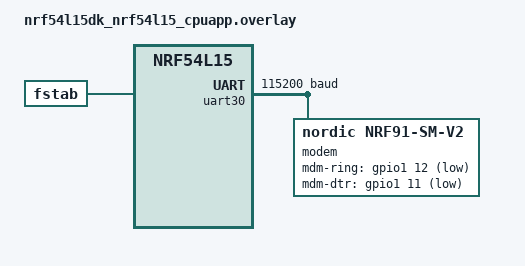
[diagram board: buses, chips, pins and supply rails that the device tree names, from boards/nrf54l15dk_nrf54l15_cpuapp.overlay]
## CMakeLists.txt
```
#
# Copyright (c) 2025 Nordic Semiconductor ASA
#
# SPDX-License-Identifier: LicenseRef-Nordic-5-Clause
#

cmake_minimum_required(VERSION 3.20.0)

find_package(Zephyr REQUIRED HINTS $ENV{ZEPHYR_BASE})
project(app)

target_sources(app PRIVATE src/main.c)
target_sources(app PRIVATE src/at_shell.c)
target_sources(app PRIVATE src/dl_shell.c)
```

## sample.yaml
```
sample:
  description: Serial Modem PPP example with shell interface
  name: PPP shell
tests:
  sample.sm_ppp_shell:
    sysbuild: true
    build_only: true
    platform_allow:
      - nrf54l15dk/nrf54l15/cpuapp
      - native_sim
    integration_platforms:
      - nrf54l15dk/nrf54l15/cpuapp
      - native_sim
```

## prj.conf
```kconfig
#
# Copyright (c) 2025 Nordic Semiconductor ASA
#
# SPDX-License-Identifier: LicenseRef-Nordic-5-Clause
#

# Networking
CONFIG_NETWORKING=y
CONFIG_NET_NATIVE=y
CONFIG_NET_L2_PPP=y
CONFIG_NET_L2_ETHERNET=n
CONFIG_NET_IPV4=y
CONFIG_NET_IPV6=y
CONFIG_NET_UDP=y
CONFIG_NET_TCP=y
CONFIG_NET_SOCKETS=y
CONFIG_NET_CONTEXT_RCVTIMEO=y
CONFIG_ZVFS_POLL_MAX=20
CONFIG_ZVFS_OPEN_MAX=20
CONFIG_POSIX_API=y
CONFIG_TEST_RANDOM_GENERATOR=y
CONFIG_NET_ZPERF=y
CONFIG_NET_PKT_RX_COUNT=40
CONFIG_NET_PKT_TX_COUNT=40
CONFIG_NET_BUF_RX_COUNT=80
CONFIG_NET_BUF_TX_COUNT=80
CONFIG_NET_BUF_DATA_SIZE=256

# DNS
CONFIG_DNS_RESOLVER=y
CONFIG_DNS_RESOLVER_MAX_SERVERS=4
CONFIG_NET_L2_PPP_OPTION_DNS_USE=y

# Network management
CONFIG_NET_MGMT=y
CONFIG_NET_MGMT_EVENT=y
CONFIG_NET_CONNECTION_MANAGER=y

# Modem driver
CONFIG_MODEM=y
CONFIG_MODEM_CELLULAR=y
CONFIG_PM_DEVICE=y
CONFIG_PM_DEVICE_RUNTIME=y
CONFIG_PM_DEVICE_RUNTIME_USE_DEDICATED_WQ=y

# "net iface up" drives PPP/L2 bring-up and modem_cellular PM/CMUX state work
# on the system workqueue; the 1024-byte default overflows under that call depth.
CONFIG_SYSTEM_WORKQUEUE_STACK_SIZE=4096

# Tune CMUX buffers
# MTU 127 and header size 6 means one full frame is 133 bytes
# Use 32 full CMUX frames for CMUX buffer and 4 frames for UART buffer
CONFIG_MODEM_CMUX_MTU=127
CONFIG_MODEM_CMUX_WORK_BUFFER_SIZE_EXTRA=4256
CONFIG_MODEM_CELLULAR_UART_BUFFER_SIZES=532
CONFIG_MODEM_CMUX_MSC_FC_THRESHOLD=127


# Serial Modem libraries
CONFIG_SM_XDFU_LIB=y
CONFIG_ZCBOR=y

# Shell utilities
CONFIG_SHELL=y
CONFIG_SHELL_WILDCARD=n
CONFIG_NET_SHELL=y
CONFIG_PM_DEVICE_SHELL=y
CONFIG_NET_MGMT_EVENT_MONITOR=y
CONFIG_NET_MGMT_EVENT_MONITOR_AUTO_START=y
CONFIG_SHELL_CMD_BUFF_SIZE=4096
# The xdfu shell command runs the full AT#XDFU chat-script/pipe-transfer
# sequence directly on the shell thread; the default stack is too small
# for that call depth and overflows.
CONFIG_SHELL_STACK_SIZE=4096
CONFIG_MODEM_CELLULAR_USER_PIPE_BUFFER_SIZES=4096
CONFIG_DOWNLOADER=y
CONFIG_DOWNLOADER_STACK_SIZE=2048

# Logging
CONFIG_LOG=y
CONFIG_MODEM_LOG_LEVEL_DBG=y
CONFIG_MODEM_CMUX_LOG_LEVEL_DBG=y

# Enable immediate logging to see the log messages with DFU
# Not recommended for production.
CONFIG_LOG_MODE_IMMEDIATE=y

# Additional logging for seeing URCs
#CONFIG_MODEM_MODULES_LOG_LEVEL_DBG=y
```

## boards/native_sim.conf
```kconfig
#
# Copyright (c) 2025 Nordic Semiconductor ASA
#
# SPDX-License-Identifier: LicenseRef-Nordic-5-Clause
#

# Run Native sim in real-time mode.
CONFIG_NATIVE_SIM_SLOWDOWN_TO_REAL_TIME=y

# As of today, native_sim does not properly support UART async API with PM_RUNTIME.
#CONFIG_UART_ASYNC_API=y
CONFIG_UART_INTERRUPT_DRIVEN=y
CONFIG_SHELL_BACKEND_SERIAL_API_POLLING=y
CONFIG_SHELL_BACKEND_SERIAL_INTERRUPT_DRIVEN=n

CONFIG_COMMON_LIBC_MALLOC=y
CONFIG_COMMON_LIBC_MALLOC_ARENA_SIZE=20480

# Need a bit bigger than embedded targets because native_sim does not have HWFC
CONFIG_MODEM_CELLULAR_UART_BUFFER_SIZES=4256

# UART_INTERRUPT_DRIVEN on native TTY selects SERIAL_HAS_POST_KERNEL_INIT,
# which conflicts with EARLY_CONSOLE selected by NCS_BOOT_BANNER.
CONFIG_NCS_BOOT_BANNER=n

# Use LittleFS for file system support.
CONFIG_FLASH=y
CONFIG_FILE_SYSTEM=y
CONFIG_FILE_SYSTEM_SHELL=y
CONFIG_FILE_SYSTEM_LITTLEFS=y
CONFIG_FLASH_MAP=y
```

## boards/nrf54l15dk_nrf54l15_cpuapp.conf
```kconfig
#
# Copyright (c) 2025 Nordic Semiconductor ASA
#
# SPDX-License-Identifier: LicenseRef-Nordic-5-Clause
#

# Ensure the use of the DTS partitions
CONFIG_USE_DT_CODE_PARTITION=y

# Modem UART uses async API; shell UART uses interrupt-driven.
CONFIG_UART_ASYNC_API=y
CONFIG_MODEM_BACKEND_UART_ASYNC_HWFC=y
CONFIG_MODEM_BACKEND_UART_ISR=n
# uart30 = modem; must not be interrupt-driven so UART_30_ASYNC is unblocked.
CONFIG_UART_30_INTERRUPT_DRIVEN=n
CONFIG_SHELL_BACKEND_SERIAL_API_INTERRUPT_DRIVEN=y
CONFIG_SHELL_BACKEND_SERIAL_RX_RING_BUFFER_SIZE=4096

# For debugging purposes, enable GPIO shell commands.
CONFIG_GPIO=y
CONFIG_GPIO_SHELL=y

CONFIG_SHELL_WILDCARD=n
CONFIG_MODEM_AT_SHELL=y
CONFIG_MODEM_AT_USER_PIPE_IDX=0
```

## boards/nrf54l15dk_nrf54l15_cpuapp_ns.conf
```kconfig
#
# Copyright (c) 2025 Nordic Semiconductor ASA
#
# SPDX-License-Identifier: LicenseRef-Nordic-5-Clause
#

# Modem UART uses async API; shell UART uses interrupt-driven.
CONFIG_UART_ASYNC_API=y
CONFIG_MODEM_BACKEND_UART_ASYNC_HWFC=y
CONFIG_MODEM_BACKEND_UART_ISR=n
# uart30 = modem; must not be interrupt-driven so UART_30_ASYNC is unblocked.
CONFIG_UART_30_INTERRUPT_DRIVEN=n
CONFIG_SHELL_BACKEND_SERIAL_API_INTERRUPT_DRIVEN=y
CONFIG_SHELL_BACKEND_SERIAL_RX_RING_BUFFER_SIZE=4096

# For debugging purposes, enable GPIO shell commands.
CONFIG_GPIO=y
CONFIG_GPIO_SHELL=y

# When building for /NS, silence TFM logs to avoid conflicts with modem UART.
CONFIG_TFM_LOG_LEVEL_SILENCE=y

CONFIG_SHELL_WILDCARD=n
CONFIG_MODEM_AT_SHELL=y
CONFIG_MODEM_AT_USER_PIPE_IDX=0
CONFIG_MODEM_CMUX_MSC_FC_THRESHOLD=32
```

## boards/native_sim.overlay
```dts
/*
 * Copyright (c) 2026 Nordic Semiconductor ASA
 *
 * SPDX-License-Identifier: LicenseRef-Nordic-5-Clause
 */

/ {
	aliases {
		modem = &modem;
	};

	/*
	 * Enable UART2 as the serial interface to the nRF91 Serial Modem application.
	 * Assume that the UART which receives modem AT-commands is available at /dev/ttyACM0 on the host system.
	 */
	uart2: uart2 {
		status = "okay";
		compatible = "zephyr,native-tty-uart";
		serial-port = "/dev/ttyACM0";
		current-speed = <115200>;
		hw-flow-control;

		modem: modem {
			compatible = "nordic,nrf91-sm-v2";
			status = "okay";
			zephyr,pm-device-runtime-auto;
			autostarts;
		};
	};

	/*
	 * Use native_sim's simulated flash storage partition for littlefs storage.
	 */
	fstab {
		compatible = "zephyr,fstab";

		lfs: lfs {
			compatible = "zephyr,fstab,littlefs";
			mount-point = "/lfs";
			partition = <&storage_partition>;
			automount;
			read-size = <16>;
			prog-size = <16>;
			cache-size = <64>;
			lookahead-size = <32>;
			block-cycles = <512>;
		};
	};
};

/* Define bigger flash for LitteFS
 * 64Mbit = 8MByte
 */
&flashcontroller0 {
	reg = <0x00000000 DT_SIZE_M(8)>;
};

&flash0 {
	reg = <0x00000000 DT_SIZE_M(8)>;

};

&storage_partition {
	reg = <0x000fc000 0x704000>;
};
```

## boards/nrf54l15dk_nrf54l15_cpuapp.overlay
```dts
/*
 * Copyright (c) 2025 Nordic Semiconductor ASA
 *
 * SPDX-License-Identifier: LicenseRef-Nordic-5-Clause
 */


/*
 * See nRF54L15DK GPIO documentation from
 * https://docs.nordicsemi.com/bundle/ug_nrf54l15_dk/page/UG/nRF54L15_DK/hw_desription/connector_if.html
 *
 * UART0 is used for Serial Modem communication and UART1 is used for console/shell.
 *
 * Note: Disable VCOM0 from Board Configurator to release UART0 for Serial Modem.
 *
 * UART0 located on the P0 connector is the "uart30" instance in the device tree.
 * UART1 is "uart20" in the device tree and it is routed to the VCOM1 on the interface chip.
 * RI and DTR signals are located on P1 connector.
 */

/ {
	chosen {
		/* Switch console to uart20 */
		zephyr,console = &uart20;
		zephyr,shell-uart = &uart20;
	};
	aliases {
		modem = &modem;
	};
};

/* Zephyr modem UART <-> nRF91 Serial Modem UART */
&uart30 {
	status = "okay";
	current-speed = <115200>;
	hw-flow-control;
	zephyr,pm-device-runtime-auto;

	/* Nordic nRF91 Serial Modem configuration */
	modem: modem {
		compatible = "nordic,nrf91-sm-v2";
		status = "okay";
		mdm-ring-gpios = <&gpio1 12 (GPIO_ACTIVE_LOW | GPIO_PULL_UP)>;
		mdm-dtr-gpios = <&gpio1 11 GPIO_ACTIVE_LOW>;
		zephyr,pm-device-runtime-auto;
		cmux-enable-runtime-power-save;
		cmux-close-pipe-on-power-save;
		cmux-idle-timeout-ms = <5000>;
		autostarts;
	};
};

&gpio1 {
	status = "okay";
};

/* Using default SRAM partitions from nrf54l15_cpuapp_partition.dtsi */

/*
 * RRAM partition layout for nRF54L15 DK (disable MCUboot)
 *
 * 0x0000_0000  slot0 (primary app)          (1492 kB)
 * 0x0017_5000  Non-secure storage           ( 32 kB)
 */

/delete-node/ &boot_partition;
/delete-node/ &slot0_partition;
/delete-node/ &slot1_partition;
/delete-node/ &storage_partition;

&cpuapp_rram {
	partitions {
		slot0_partition: partition@0 {
			compatible = "zephyr,mapped-partition";
			label = "image-0";
			reg = <0x0 DT_SIZE_K(1492)>;
		};

		storage_partition: partition@175000 {
			compatible = "zephyr,mapped-partition";
			label = "storage";
			reg = <0x000175000 DT_SIZE_K(32)>;
		};
	};
};

/*
 * Use external flash for littlefs storage.
 */
/ {
	fstab {
		compatible = "zephyr,fstab";

		lfs: lfs {
			compatible = "zephyr,fstab,littlefs";
			mount-point = "/lfs";
			partition = <&lfs_part>;
			automount;
			read-size = <16>;
			prog-size = <16>;
			cache-size = <64>;
			lookahead-size = <32>;
			block-cycles = <512>;
		};
	};
};

&mx25r64 {
	partitions {
		compatible = "fixed-partitions";
		#address-cells = <1>;
		#size-cells = <1>;

		lfs_part: partition@0 {
			label = "littlefs";
			reg = <0x00000000 DT_SIZE_M(8)>;
		};
	};
};
```

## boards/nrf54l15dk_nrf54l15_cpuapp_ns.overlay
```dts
/*
 * Copyright (c) 2025 Nordic Semiconductor ASA
 *
 * SPDX-License-Identifier: LicenseRef-Nordic-5-Clause
 */


/*
 * See nRF54L15DK GPIO documentation from
 * https://docs.nordicsemi.com/bundle/ug_nrf54l15_dk/page/UG/nRF54L15_DK/hw_desription/connector_if.html
 *
 * UART0 is used for Serial Modem communication and UART1 is used for console/shell.
 *
 * Note: Disable VCOM0 from Board Configurator to release UART0 for Serial Modem.
 *
 * UART0 located on the P0 connector is the "uart30" instance in the device tree.
 * UART1 is "uart20" in the device tree and it is routed to the VCOM1 on the interface chip.
 * RI and DTR signals are located on P1 connector.
 */

/ {
	chosen {
		/* Switch console to uart20 */
		zephyr,console = &uart20;
		zephyr,shell-uart = &uart20;
	};
	aliases {
		modem = &modem;
	};
};

/* Zephyr modem UART <-> nRF91 Serial Modem UART */
&uart30 {
	status = "okay";
	current-speed = <115200>;
	hw-flow-control;
	zephyr,pm-device-runtime-auto;

	/* Nordic nRF91 Serial Modem configuration */
	modem: modem {
		compatible = "nordic,nrf91-sm-v2";
		status = "okay";
		mdm-ring-gpios = <&gpio1 12 (GPIO_ACTIVE_LOW | GPIO_PULL_UP)>;
		mdm-dtr-gpios = <&gpio1 11 GPIO_ACTIVE_LOW>;
		zephyr,pm-device-runtime-auto;
		cmux-enable-runtime-power-save;
		cmux-close-pipe-on-power-save;
		cmux-idle-timeout-ms = <5000>;
		autostarts;
	};
};

&gpio1 {
	status = "okay";
};

/* Using default RRAM and SRAM partitions from nrf54l15_cpuapp_ns_partition.dtsi.
 * The nrf54l15_cpuapp_ns_partition.dtsi does not define partition for MCUboot by default.
 */
```

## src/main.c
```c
/*
 * Copyright (c) 2025 Nordic Semiconductor ASA
 *
 * SPDX-License-Identifier: LicenseRef-Nordic-5-Clause
 */
#include <stdlib.h>
#include <sm_xdfu.h>
#include <zephyr/shell/shell.h>
#include <zephyr/drivers/modem/modem_cellular.h>

static const struct device *modem = DEVICE_DT_GET_ONE(nordic_nrf91_sm_v2);

int main(void)
{
	return 0;
}

/* Minimal wrapper around sm_xdfu_lib: parses shell arguments, runs the
 * update, and reports the outcome. All XDFU protocol handling lives in
 * lib/sm_xdfu_lib so it can also be used without a shell.
 */
static int cmd_xdfu(const struct shell *sh, size_t argc, char **argv)
{
	int ret;
	enum sm_xdfu_image_type type;
	const char *file;

	if (argc < 3) {
		shell_error(sh, "Usage: xdfu <type> <file>");
		return -EINVAL;
	}

	type = (enum sm_xdfu_image_type)atoi(argv[1]);
	file = argv[2];

	ret = sm_xdfu_run(modem, type, file);
	switch (ret) {
	case 0:
		shell_print(sh, "XDFU completed successfully");
		break;
	case -EBUSY:
		shell_error(sh, "Modem or UART is in use, cannot run XDFU");
		break;
	case -EINVAL:
		shell_error(sh, "Invalid XDFU type or file: %s", file);
		break;
	case -ENODEV:
		shell_error(sh, "Modem or UART is not ready");
		break;
	case -ETIMEDOUT:
		shell_error(sh, "Timed out waiting for modem response");
		break;
	default:
		shell_error(sh, "XDFU failed: %d", ret);
		break;
	}

	return ret;
}

SHELL_CMD_ARG_REGISTER(xdfu, NULL,
			SHELL_HELP("Run #XDFU on modem",
				   "<type> <file>\n"
				   "type: 0=APP, 1=DELTA_MFW, 2=FULL_MFW, 3=MCUBOOT_BL"),
			cmd_xdfu, 3, 0);
```

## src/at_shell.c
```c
/*
 * Copyright (c) 2026 Nordic Semiconductor ASA
 *
 * SPDX-License-Identifier: LicenseRef-Nordic-5-Clause
 */
#include <stdio.h>
#include <stdlib.h>
#include <zephyr/shell/shell.h>
#include <zephyr/modem/chat.h>
#include <zephyr/modem/pipe.h>
#include <zephyr/drivers/modem/modem_cellular.h>
#include <zephyr/pm/device_runtime.h>

struct at_shell_chat_instance {
	struct modem_chat at_shell_chat;
	uint8_t at_shell_chat_receive_buf[1024];
	uint8_t *at_shell_chat_argv_buf[3];
};

static const struct device *modem = DEVICE_DT_GET_ONE(nordic_nrf91_sm_v2);

static void chat_callback(struct modem_chat *chat, char **argv, uint16_t argc, void *user_data);

MODEM_CHAT_MATCH_DEFINE(ok_match, "OK", "", NULL);
/* We can only match responses that are longer than 3 characters, so it does not
 * eat "OK". All others need to be handled in chat_callback().
 */
MODEM_CHAT_MATCH_WILDCARD_DEFINE(all_match, "???", "", chat_callback);

/* Helper copied from Serial Modem's sm_util.h */
#define Z_MODEM_PIPE_EVENT_OPENED_BIT BIT(0)

static inline bool sm_pipe_is_open(struct modem_pipe *pipe)
{
	return k_event_test(&pipe->event, Z_MODEM_PIPE_EVENT_OPENED_BIT) ==
	       Z_MODEM_PIPE_EVENT_OPENED_BIT;
}

static struct modem_chat *at_shell_init_chat(const struct shell *sh)
{
	struct at_shell_chat_instance *instance =
		(struct at_shell_chat_instance *)malloc(sizeof(struct at_shell_chat_instance));

	if (instance == NULL) {
		shell_error(sh, "Failed to allocate chat buffers");
		return NULL;
	}

	const struct modem_chat_config at_shell_chat_config = {
		.receive_buf = instance->at_shell_chat_receive_buf,
		.receive_buf_size = sizeof(instance->at_shell_chat_receive_buf),
		.delimiter = "\r",
		.delimiter_size = sizeof("\r") - 1,
		.filter = "\n",
		.filter_size = sizeof("\n") - 1,
		.argv = instance->at_shell_chat_argv_buf,
		.argv_size = ARRAY_SIZE(instance->at_shell_chat_argv_buf),
		.unsol_matches = &all_match,
		.unsol_matches_size = 1,
		.user_data = (void *)sh,
	};

	modem_chat_init(&instance->at_shell_chat, &at_shell_chat_config);
	return &instance->at_shell_chat;
}

static void at_shell_release_chat(struct modem_chat *chat)
{
	modem_chat_release(chat);
	free(chat);
}

static void chat_callback(struct modem_chat *chat, char **argv, uint16_t argc, void *user_data)
{
	const struct shell *sh = (const struct shell *)user_data;
	char *s;
	size_t len = 0;

	/* Because we use "???" wildcard match, we need to concatenate all arguments so we can
	 * properly match reponses because the parameteres for "ERROR" would like:
	 * argv[0] = "ERR"
	 * argv[1] = "OR"
	 */
	for (uint16_t i = 0; i < argc; i++) {
		len += strlen(argv[i]);
	}

	s = (char *)calloc(1, len + 1);
	if (s == NULL) {
		shell_error(sh, "out of mem");
		return;
	}
	for (uint16_t i = 0; i < argc; i++) {
		strcat(s, argv[i]);
}

	shell_print(sh, "%s", s);

	/* We need to handle typical error matches here */
	if (strstr(s, "ERROR") != NULL ||
	    strstr(s, "BUSY") != NULL ||
	    strstr(s, "NO CARRIER") != NULL) {
		modem_chat_script_abort(chat);
	}
	free(s);
}

static int chat_cmd(struct modem_chat *chat, const char *cmd)
{
	struct modem_chat_script_chat cmd_s = {
		.request = cmd,
		.request_size = strlen(cmd),
		.response_matches = &ok_match,
		.response_matches_size = 1,
		.timeout = 1000,
	};

	struct modem_chat_script script = {
		.name = "chat_cmd",
		.script_chats = &cmd_s,
		.script_chats_size = 1,
		.callback = NULL,
		.timeout = 10,
	};

	return modem_chat_run_script(chat, &script);
}

static struct modem_pipe *at_shell_get_user_pipe(const struct shell *sh)
{
	struct modem_cellular_config *config = (struct modem_cellular_config *)modem->config;

	if (config->user_pipes_size == 0) {
		shell_error(sh, "No user pipes configured");
		return NULL;
	}
	for (int i = 0; i < config->user_pipes_size; i++) {
		struct modem_cellular_user_pipe *user_pipe = &config->user_pipes[i];
		struct modem_pipelink *pipelink = user_pipe->pipelink;

		/* Find a user pipe that has not been attached */
		if (pipelink->callback == NULL) {
			return user_pipe->pipe;
		}
	}

	shell_error(sh, "Cannot find user pipe");
	return NULL;
}

/*
 * Return any modem pipe that can be used to send AT commands to the modem.
 * When modem is not active, return the modem's UART pipe.
 * When modem is active, return first user pipe that is available, or NULL if none are available.
 */
static struct modem_pipe *at_shell_get_pipe(const struct shell *sh)
{
	struct modem_cellular_config *config = (struct modem_cellular_config *)modem->config;
	struct modem_cellular_data *data = (struct modem_cellular_data *)modem->data;

	/* Ensure that modem is not used */
	int cnt = pm_device_runtime_usage(modem);

	if (cnt > 0) {
		return at_shell_get_user_pipe(sh);
	}

	/* Ensure that UART is free */
	if (!device_is_ready(config->uart)) {
		shell_error(sh, "UART is not ready");
		return NULL;
	}

	cnt = pm_device_runtime_usage(config->uart);
	if (cnt > 0) {
		shell_error(sh, "UART is in use, cannot run AT command");
		return NULL;
	}

	return data->uart_pipe;
}

static int cmd_at(const struct shell *sh, size_t argc, char **argv)
{
	int ret;

	if (argc < 2) {
		shell_error(sh, "Usage: at <command>");
		return -EINVAL;
	}

	if (!device_is_ready(modem)) {
		shell_error(sh, "Modem is not ready");
		return -ENODEV;
	}

	struct modem_pipe *pipe = at_shell_get_pipe(sh);

		if (pipe == NULL) {
			return -ENODEV;
		}

	bool pipe_was_open = sm_pipe_is_open(pipe);

	modem_pipe_release(pipe);
	ret = modem_pipe_open(pipe, K_SECONDS(1));
	if (ret < 0) {
		shell_error(sh, "Failed to open UART pipe: %d", ret);
		return ret;
	}

	struct modem_chat *chat = at_shell_init_chat(sh);

	if (chat == NULL) {
		ret = -ENOMEM;
		goto close_pipe;
	}

	modem_chat_attach(chat, pipe);

	ret = chat_cmd(chat, argv[1]);
	if (ret < 0) {
		shell_error(sh, "Failed to run AT command: %d", ret);
	} else {
		shell_print(sh, "OK");
	}

	at_shell_release_chat(chat);

close_pipe:
	if (!pipe_was_open) {
		modem_pipe_close(pipe, K_SECONDS(1));
	}
	return ret;
}
SHELL_CMD_ARG_REGISTER(at, NULL, "AT command\nat <AT command>", cmd_at, 2, 0);

#ifndef CONFIG_MODEM_AT_SHELL

/* If modem AT shell is not enabled, provide a wrapper for the "modem at" */
static int cmd_modem_at(const struct shell *sh, size_t argc, char **argv)
{
	if (argc < 3 || strcmp(argv[1], "at") != 0) {
		shell_error(sh, "Usage: modem at <command>");
		return -EINVAL;
	}
	return cmd_at(sh, argc - 1, &argv[1]);
}
SHELL_CMD_ARG_REGISTER(modem, NULL, "modem at <AT command>", cmd_modem_at, 3, 0);

#endif
```

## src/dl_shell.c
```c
/*
 * Copyright (c) 2026 Nordic Semiconductor ASA
 *
 * SPDX-License-Identifier: LicenseRef-Nordic-5-Clause
 */

#include <zephyr/init.h>
#include <zephyr/device.h>
#include <zephyr/fs/fs.h>
#include <stdlib.h>
#include <string.h>
#include <zephyr/shell/shell.h>
#include <net/downloader.h>

LOG_MODULE_DECLARE(downloader);

static int dl_callback(const struct downloader_evt *event);

/* Sample-local downloader shell: only depends on the public downloader API,
 * so it does not need CONFIG_DOWNLOADER_SHELL (which is disabled here).
 */
#define SM_DL_SHELL_BUF_SIZE 2048

#define SM_DL_SHELL_URL_SIZE (CONFIG_DOWNLOADER_MAX_HOSTNAME_SIZE + \
			      CONFIG_DOWNLOADER_MAX_FILENAME_SIZE + 1)

/** Downloader buffer, allocated by cmd_dc_init() and freed by cmd_dc_deinit(). */
static char *dl_buf;
static struct downloader downloader;
static struct downloader_cfg dl_cfg = {
	.callback = dl_callback,
};

static int sec_tag_list[1];
static struct downloader_host_cfg dl_host_cfg = {
	.sec_tag_list = sec_tag_list,
};

static bool in_progress;
static struct fs_file_t output_file;
static bool output_file_open;

static const struct shell *shell_instance;

static int dl_callback(const struct downloader_evt *event)
{
	static size_t downloaded;
	static size_t file_size;

	if (downloaded == 0) {
		downloader_file_size_get(&downloader, &file_size);
	}

	switch (event->id) {
	case DOWNLOADER_EVT_FRAGMENT:
		if (output_file_open) {
			int ret = fs_write(&output_file, event->fragment.buf, event->fragment.len);

			if (ret < 0 || ret != event->fragment.len) {
				shell_error(shell_instance,
					    "failed to write fragment to file (len %d, ret %d)",
					    event->fragment.len, ret);
				fs_close(&output_file);
				output_file_open = false;
				in_progress = false;
				return -EIO;
			}
			shell_fprintf(shell_instance, SHELL_NORMAL, "Wrote %d bytes to file\n",
				      event->fragment.len);
		}
		downloaded += event->fragment.len;
		if (file_size) {
			shell_fprintf(shell_instance, SHELL_NORMAL, "\r[ %d%% ] ",
				      (downloaded * 100) / file_size);
		} else {
			shell_fprintf(shell_instance, SHELL_NORMAL, "\r[ %d bytes ] ", downloaded);
		}
		break;
	case DOWNLOADER_EVT_DONE:
		if (output_file_open) {
			fs_close(&output_file);
			output_file_open = false;
		}
		shell_print(shell_instance, "done (%d bytes)", downloaded);
		in_progress = false;
		downloaded = 0;
		break;
	case DOWNLOADER_EVT_ERROR:
		if (output_file_open) {
			fs_close(&output_file);
			output_file_open = false;
		}
		shell_error(shell_instance, "error %d during download", event->error);
		if (event->error == -ECONNRESET) {
			/* Allow the downloader to retry. */
			return 0;
		}

		/* Abort the download by returning an error. */
		return event->error;
	case DOWNLOADER_EVT_STOPPED:
		if (output_file_open) {
			fs_close(&output_file);
			output_file_open = false;
		}
		shell_print(shell_instance, "download client closed");
		in_progress = false;
		downloaded = 0;
		break;
	case DOWNLOADER_EVT_DEINITIALIZED:
		if (output_file_open) {
			fs_close(&output_file);
			output_file_open = false;
		}
		shell_print(shell_instance, "client deinitialized");
		in_progress = false;
		break;
	}

	return 0;
}

static int cmd_dc_init(const struct shell *shell, size_t argc, char **argv)
{
	int err;

	shell_instance = shell;

	dl_buf = malloc(SM_DL_SHELL_BUF_SIZE);
	if (!dl_buf) {
		shell_error(shell, "Failed to allocate download buffer\n");
		return -ENOMEM;
	}
	dl_cfg.buf = dl_buf;
	dl_cfg.buf_size = SM_DL_SHELL_BUF_SIZE;

	err = downloader_init(&downloader, &dl_cfg);
	if (err) {
		shell_warn(shell, "Download client init failed %d\n", err);
		free(dl_buf);
		dl_buf = NULL;
	}

	shell_print(shell, "Download client initialized\n");

	return err;
}

static int cmd_dc_deinit(const struct shell *shell, size_t argc, char **argv)
{
	int err;

	err = downloader_deinit(&downloader);
	if (err) {
		shell_warn(shell, "Download client deinit failed %d\n", err);
	}

	free(dl_buf);
	dl_buf = NULL;

	return err;
}

static int cmd_host_config_pdn_id(const struct shell *shell, size_t argc, char **argv)
{
	if (argc != 2) {
		shell_warn(shell, "usage: dc host_config pdn <pdn_id>\n");
		return -EINVAL;
	}

	dl_host_cfg.pdn_id = atoi(argv[1]);

	shell_print(shell, "PDN ID set: %d\n", dl_host_cfg.pdn_id);
	return 0;
}

static int cmd_host_config_sec_tag(const struct shell *shell, size_t argc, char **argv)
{
	if (argc != 2) {
		shell_warn(shell, "usage: dc host_config sec_tag <sec_tag>\n");
		return -EINVAL;
	}

	sec_tag_list[0] = atoi(argv[1]);
	dl_host_cfg.sec_tag_count = 1;

	shell_print(shell, "Security tag set: %d\n", dl_host_cfg.sec_tag_list[0]);
	return 0;
}

static int cmd_host_config_native_tls(const struct shell *shell, size_t argc, char **argv)
{
	if (argc != 2) {
		shell_warn(shell, "usage: dc host_config native_tls <0/1>\n");
		return -EINVAL;
	}

	dl_host_cfg.set_native_tls = atoi(argv[1]);

	shell_print(shell, "Native tls %s\n", dl_host_cfg.set_native_tls ? "enabled" : "disabled");

	return 0;
}

static int cmd_host_config_keep_connection(const struct shell *shell, size_t argc, char **argv)
{
	if (argc != 2) {
		shell_warn(shell, "usage: dc host_config keep_connection <0/1>\n");
		return -EINVAL;
	}

	dl_host_cfg.keep_connection = atoi(argv[1]);

	shell_print(shell, "Keep connection %s\n",
		    dl_host_cfg.keep_connection ? "enabled" : "disabled");

	return 0;
}

static int cmd_download_get(const struct shell *shell, size_t argc, char **argv)
{
	int err;
	size_t from = 0;
	const char *dl_url = NULL;
	const char *output_path = NULL;
	char *url;

	shell_instance = shell;

	for (int i = 1; i < argc; i++) {
		if (strcmp(argv[i], "-o") == 0) {
			if (i + 1 >= argc) {
				shell_warn(shell,
					   "usage: dl download get <url> [offset] [-o <path>]");
				return -EINVAL;
			}
			output_path = argv[++i];
		} else if (dl_url == NULL) {
			dl_url = argv[i];
		} else {
			from = atoi(argv[i]);
		}
	}

	if (dl_url == NULL) {
		shell_warn(shell, "usage: dl download get <url> [offset] [-o <path>]");
		return -EINVAL;
	}

	if (in_progress) {
		return -EALREADY;
	}

	if (output_path) {
		int ret;

		fs_file_t_init(&output_file);
		ret = fs_open(&output_file, output_path, FS_O_WRITE | FS_O_CREATE | FS_O_TRUNC);
		if (ret < 0) {
			shell_warn(shell, "Failed to open output file: %s (%d)", output_path, ret);
			return -EIO;
		}
		output_file_open = true;
		shell_print(shell, "Downloading to file: %s", output_path);
	}

	url = malloc(SM_DL_SHELL_URL_SIZE);
	if (!url) {
		if (output_file_open) {
			fs_close(&output_file);
			output_file_open = false;
		}
		shell_error(shell, "Failed to allocate url buffer\n");
		return -ENOMEM;
	}

	strncpy(url, dl_url, SM_DL_SHELL_URL_SIZE);
	url[SM_DL_SHELL_URL_SIZE - 1] = '\0';

	err = downloader_get(&downloader, &dl_host_cfg, url, from);
	free(url);

	if (err) {
		if (output_file_open) {
			fs_close(&output_file);
			output_file_open = false;
		}
		shell_warn(shell, "downloader_get() failed, err %d", err);
		return -ENOEXEC;
	}

	in_progress = true;
	shell_print(shell, "Downloading");

	return 0;
}

static int cmd_download_cancel(const struct shell *shell, size_t argc, char **argv)
{
	int err;

	err = downloader_cancel(&downloader);
	if (err) {
		shell_warn(shell, "downloader_cancel() failed, err %d", err);
	} else {
		shell_print(shell, "Download cancelled");
	}
	return 0;
}

static int cmd_download_file_size_get(const struct shell *shell, size_t argc, char **argv)
{
	int err;
	size_t fs;

	err = downloader_file_size_get(&downloader, &fs);
	if (err) {
		shell_warn(shell, "downloader_file_size_get() failed, err %d", err);
	} else {
		shell_print(shell, "File size: %d", fs);
	}
	return 0;
}

static int cmd_download_progress_get(const struct shell *shell, size_t argc, char **argv)
{
	int err;
	size_t fs;

	err = downloader_downloaded_size_get(&downloader, &fs);
	if (err) {
		shell_warn(shell, "downloader_downloaded_size_get() failed, err %d", err);
	} else {
		shell_print(shell, "Downloaded: %d", fs);
	}
	return 0;
}

SHELL_STATIC_SUBCMD_SET_CREATE(
	host_config_options,
	SHELL_CMD(sec_tag, NULL, "Set security tag", cmd_host_config_sec_tag),
	SHELL_CMD(pdn_id, NULL, "Set PDN ID", cmd_host_config_pdn_id),
	SHELL_CMD(native_tls, NULL, "Enable native TLS", cmd_host_config_native_tls),
	SHELL_CMD(keep_connection, NULL, "Keep host connection", cmd_host_config_keep_connection),
	SHELL_SUBCMD_SET_END);

SHELL_STATIC_SUBCMD_SET_CREATE(download_options, SHELL_CMD(get, NULL, "Get file", cmd_download_get),
			       SHELL_CMD(cancel, NULL, "Cancel download", cmd_download_cancel),
			       SHELL_CMD(file_size, NULL, "Get file size",
					 cmd_download_file_size_get),
			       SHELL_CMD(progress, NULL, "Get bytes downloaded",
					 cmd_download_progress_get),
			       SHELL_SUBCMD_SET_END);

SHELL_STATIC_SUBCMD_SET_CREATE(
	sub_dl, SHELL_CMD(init, NULL, "Initialize download client", cmd_dc_init),
	SHELL_CMD(deinit, NULL, "Deinitialize download client", cmd_dc_deinit),
	SHELL_CMD(host_config, &host_config_options, "Set configuration option", NULL),
	SHELL_CMD(download, &download_options, "Download options", NULL), SHELL_SUBCMD_SET_END);

SHELL_CMD_REGISTER(dl, &sub_dl, "Download client", NULL);
```
